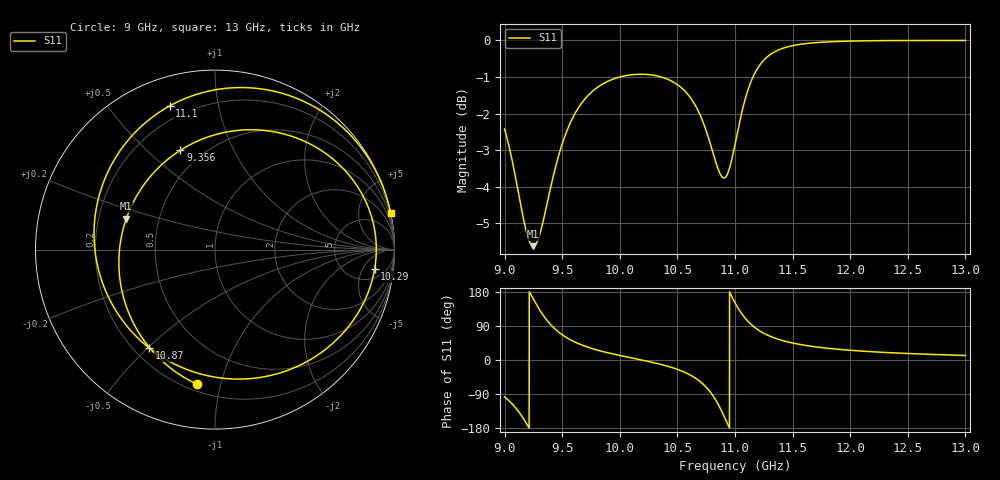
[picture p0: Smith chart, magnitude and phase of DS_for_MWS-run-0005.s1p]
! TOUCHSTONE file generated by CST DESIGN STUDIO
! Date and time: Tue Feb  4 14:07:47 2025
! Project name: C:\Work\MatlabApps\UnitCellOptimizationMatlab\CST\unitcell.cst
! Tree item: Tasks\Sweep1\SPara1\S-Parameters
! Header version: 2024
! Port assignment regex: !\s*Touchstone port\s*([0-9]+)\s*=\s*(CST MWS port|CST DES external port|CST DES block port)\s*(.+)\s* \(\"(.*)\"\)(\s*mode\s*([0-9]+))?.*
! Touchstone port assignment:
! Touchstone port 1 = CST DES external port 1 ("")
# GHz S MA R 50
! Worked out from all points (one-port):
!   4001 points, 9 GHz to 13 GHz, reference 50 ohm
!   lowest |S11| = -5.6 dB at 9.249 GHz (marker M1), VSWR 3.20, Z = 16 + j7.58 ohm
!   |S11| at or under -10 dB: nowhere
!   S11 on the Smith chart (normalised r, x): 9 GHz: 0.24, -0.85; 9.356 GHz: 0.38, +0.64; 10.29 GHz: 8, -9; 10.87 GHz: 0.26, -0.50; 11.1 GHz: 0.13, +0.72; 13 GHz: 0.02, +9.58
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9  0.7567 -97.6
9.073  0.6764 -118.2
9.149  0.5858 -147.8
9.2  0.5398 -172.8
9.249  0.5235 160.9
9.356  0.586 109.2
9.422  0.6518 86.3
9.5  0.7221 66.6
9.599  0.788 49.0
9.709  0.8357 35.3
10  0.8911 12.0
10.293  0.896 -6.9
10.5  0.8699 -24.7
10.608  0.8369 -39.1
10.696  0.7914 -56.6
10.793  0.7159 -87.5
10.866  0.6594 -123.9
10.937  0.6583 -169.6
11  0.7208 151.0
11.048  0.7835 126.7
11.096  0.8393 107.6
11.169  0.8999 86.4
11.272  0.9468 67.2
11.374  0.9696 54.9
11.5  0.9834 44.8
12  0.9976 25.7
12.5  0.9994 17.1
13  0.9995 11.9
